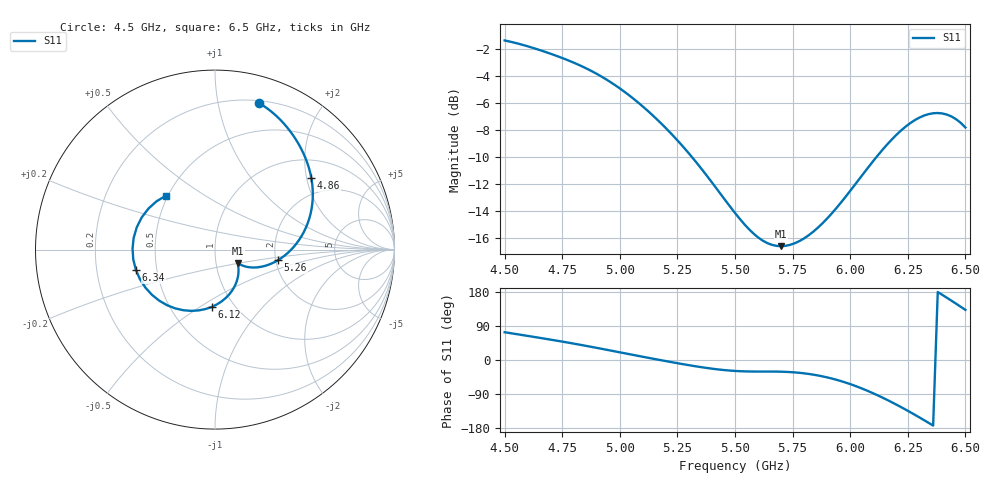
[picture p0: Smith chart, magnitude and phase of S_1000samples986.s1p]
! TOUCHSTONE file generated by CST MICROWAVE STUDIO
! Date and time: Sun Oct 30 00:21:15 2022
! Project name: L.cst
! Parameters = {Di=1.27; Epsilon_r=1.56; InnerDiameter=1.27; Length=2; Lf=10; Lg=60; OuterConductorThickness=0.2921; OuterDiameter=3.6; Wf=3; Wp=41.2; de=1.5; df=6.8; g=0.8; gx=0.861788; gy=2.40246; h=2.34; hf=1.524; px=10.3081; py=10.4993; w=9.7; wx=9.44633; wy=8.09682}
! Header version: 2018
! Port assignment regex: !\s*Touchstone port\s*([0-9]+)\s*=\s*(CST MWS port|CST DS port)\s*([0-9]+|Zmin|Zmax)\s*\(\"(.*)\"\)(\s*mode\s*([0-9]+))?.*
! Touchstone port assignment:
! Touchstone port 1 = CST MWS port 1 ("")
# GHz S DB R 50
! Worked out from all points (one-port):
!   101 points, 4.5 GHz to 6.5 GHz, reference 50 ohm
!   lowest |S11| = -16.6 dB at 5.7 GHz (marker M1), VSWR 1.35, Z = 63.7 - j9.87 ohm
!   |S11| at or under -10 dB: 5.312 GHz to 6.115 GHz (802.1 MHz wide, 14 % of centre)
!   S11 on the Smith chart (normalised r, x): 4.5 GHz: 0.22, +1.32; 4.86 GHz: 1.48, +2.13; 5.26 GHz: 2.06, -0.28; 6.12 GHz: 0.79, -0.56; 6.34 GHz: 0.38, -0.11; 6.5 GHz: 0.49, +0.35
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4.5  -1.39 73.3
4.64  -2.03 59.7
4.76  -2.75 47.5
4.86  -3.50 36.6
4.92  -4.05 29.7
5  -4.93 20.3
5.14  -6.88 3.9
5.26  -8.96 -9.5
5.38  -11.44 -21.2
5.5  -14.15 -28.8
5.6  -15.95 -30.5
5.66  -16.51 -30.5
5.7  -16.61 -30.9
5.76  -16.38 -32.8
5.88  -14.91 -43.2
6  -12.51 -63.6
6.06  -11.18 -77.4
6.12  -9.89 -93.5
6.16  -9.09 -105.2
6.2  -8.38 -117.6
6.24  -7.77 -130.7
6.26  -7.51 -137.4
6.3  -7.10 -151.3
6.34  -6.84 -165.7
6.38  -6.75 179.4
6.42  -6.87 164.1
6.46  -7.22 148.4
6.5  -7.82 132.3
